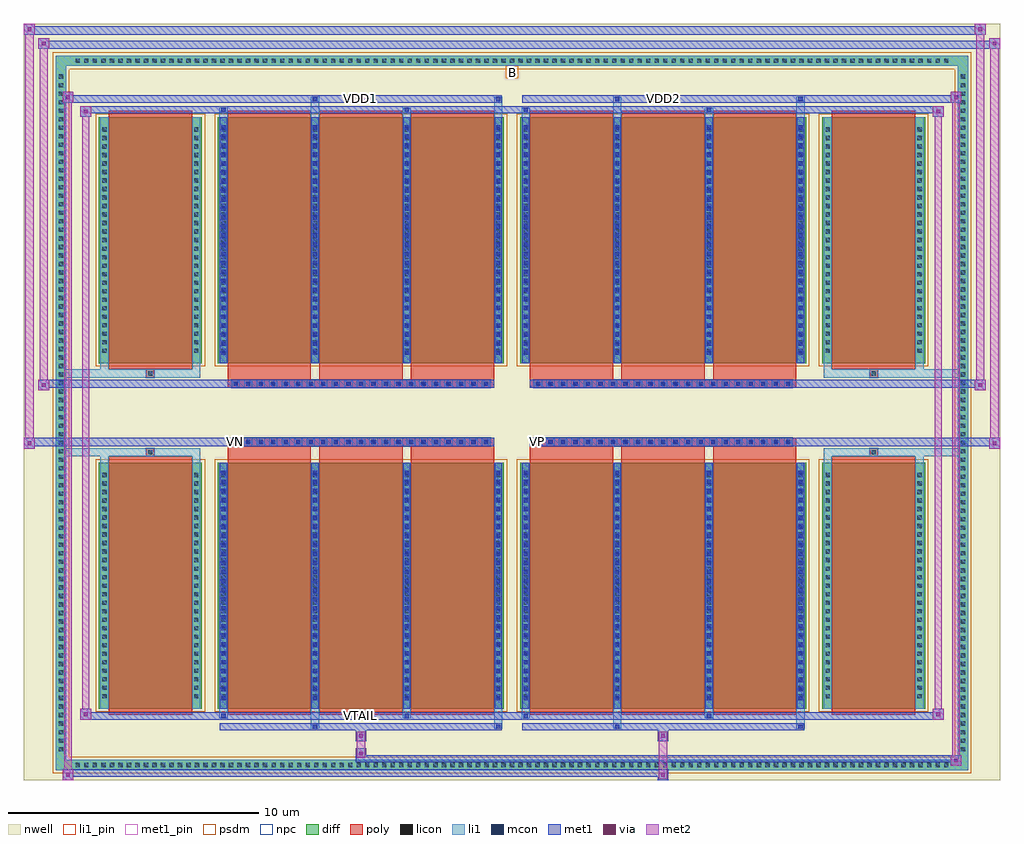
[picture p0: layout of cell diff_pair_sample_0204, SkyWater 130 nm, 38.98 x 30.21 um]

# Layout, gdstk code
import gdstk
lib = gdstk.Library(unit=1e-6, precision=5e-09)
def R(c, l, rs):  # rectangles x0, y0, x1, y1
    for r in rs: c.add(gdstk.rectangle(r[:2], r[2:], *l))
def A(c, l, x, y, w, h, nx, ny, dx, dy):  # array of equal rectangles
    R(c, l, [(x+i*dx, y+j*dy, x+i*dx+w, y+j*dy+h) for i in range(nx) for j in range(ny)])
def P(c, l, *ps):  # polygons
    for p in ps: c.add(gdstk.Polygon(p, *l))
nwell = (64, 20)
diff = (65, 20)
poly = (66, 20)
licon = (66, 44)
li1_pin = (67, 16)
li1 = (67, 20)
mcon = (67, 44)
met1_pin = (68, 16)
met1 = (68, 20)
via = (68, 44)
met2 = (69, 20)
psdm = (94, 20)
npc = (95, 20)

diff_pair_sample_0204 = lib.new_cell('diff_pair_sample_0204')
R(diff_pair_sample_0204, nwell, [(-19.49,-14.67,19.49,15.54), (-16.81,-12.86,-0.01,-0.8), (0.01,-12.86,16.81,-0.8), (-16.81,0.8,-0.01,12.86), (0.01,0.8,16.81,12.86)])
A(diff_pair_sample_0204, diff, -17.545, -14.27, 0.41, 0.41, 103, 2, 0.34, 28.13)
A(diff_pair_sample_0204, diff, -18.22, -13.635, 0.41, 0.41, 1, 80, 0, 0.34)
A(diff_pair_sample_0204, diff, 17.81, -13.635, 0.41, 0.41, 1, 80, 0, 0.34)
R(diff_pair_sample_0204, diff, [(-17.545,-14.27,17.545,-13.86), (-18.22,-13.635,-17.81,13.635), (17.81,-13.635,18.22,13.635), (-16.5,-11.815,-12.39,-1.985), (-11.75,-11.815,-0.32,-1.985), (0.32,-11.815,11.75,-1.985), (12.39,-11.815,16.5,-1.985), (-16.5,1.985,-12.39,11.815), (-11.75,1.985,-0.32,11.815), (0.32,1.985,11.75,11.815), (12.39,1.985,16.5,11.815), (-17.545,13.86,17.545,14.27)])
P(diff_pair_sample_0204, diff, [(18.22,14.27),(-18.22,14.27),(-18.22,-13.86),(-17.81,-13.86),(-17.81,13.86),(17.81,13.86),(17.81,-13.86),(-17.81,-13.86),(-18.22,-13.86),(-18.22,-14.27),(18.22,-14.27)])
A(diff_pair_sample_0204, poly, -11.36, -12.065, 3.33, 10.33, 3, 2, 3.66, 13.8)
A(diff_pair_sample_0204, poly, 0.71, -12.065, 3.33, 10.33, 3, 2, 3.66, 13.8)
A(diff_pair_sample_0204, poly, -11.36, -1.735, 3.33, 0.405, 3, 2, 3.66, 3.065)
A(diff_pair_sample_0204, poly, 0.71, -1.735, 3.33, 0.405, 3, 2, 3.66, 3.065)
A(diff_pair_sample_0204, poly, -11.2, -1.33, 0.33, 0.33, 21, 2, 0.5, 2.33)
A(diff_pair_sample_0204, poly, 0.87, -1.33, 0.33, 0.33, 21, 2, 0.5, 2.33)
R(diff_pair_sample_0204, poly, [(-16.11,-12.065,-12.78,-1.735), (12.78,-12.065,16.11,-1.735), (-14.61,-1.735,-14.28,-1.405), (-14.61,-1.735,-14.28,-1.405), (14.28,-1.735,14.61,-1.405), (14.28,-1.735,14.61,-1.405), (-11.36,-1.33,-0.71,-1), (0.71,-1.33,11.36,-1), (-11.36,1,-0.71,1.33), (0.71,1,11.36,1.33), (-14.61,1.405,-14.28,1.735), (-14.61,1.405,-14.28,1.735), (14.28,1.405,14.61,1.735), (14.28,1.405,14.61,1.735), (-16.11,1.735,-12.78,12.065), (12.78,1.735,16.11,12.065)])
A(diff_pair_sample_0204, licon, -17.425, -14.15, 0.17, 0.17, 103, 2, 0.34, 28.13)
A(diff_pair_sample_0204, licon, -18.1, -13.515, 0.17, 0.17, 1, 80, 0, 0.34)
A(diff_pair_sample_0204, licon, 17.93, -13.515, 0.17, 0.17, 1, 80, 0, 0.34)
A(diff_pair_sample_0204, licon, -16.36, -11.405, 0.17, 0.17, 1, 27, 0, 0.34)
A(diff_pair_sample_0204, licon, -12.7, -11.405, 0.17, 0.17, 1, 27, 0, 0.34)
A(diff_pair_sample_0204, licon, -11.61, -11.405, 0.17, 0.17, 4, 27, 3.66, 0.34)
A(diff_pair_sample_0204, licon, 0.46, -11.405, 0.17, 0.17, 4, 27, 3.66, 0.34)
A(diff_pair_sample_0204, licon, 12.53, -11.405, 0.17, 0.17, 1, 27, 0, 0.34)
A(diff_pair_sample_0204, licon, 16.19, -11.405, 0.17, 0.17, 1, 27, 0, 0.34)
A(diff_pair_sample_0204, licon, -11.12, -1.25, 0.17, 0.17, 21, 2, 0.5, 2.33)
A(diff_pair_sample_0204, licon, 0.95, -1.25, 0.17, 0.17, 21, 2, 0.5, 2.33)
A(diff_pair_sample_0204, licon, -16.36, 2.395, 0.17, 0.17, 1, 27, 0, 0.34)
A(diff_pair_sample_0204, licon, -12.7, 2.395, 0.17, 0.17, 1, 27, 0, 0.34)
A(diff_pair_sample_0204, licon, -11.61, 2.395, 0.17, 0.17, 4, 27, 3.66, 0.34)
A(diff_pair_sample_0204, licon, 0.46, 2.395, 0.17, 0.17, 4, 27, 3.66, 0.34)
A(diff_pair_sample_0204, licon, 12.53, 2.395, 0.17, 0.17, 1, 27, 0, 0.34)
A(diff_pair_sample_0204, licon, 16.19, 2.395, 0.17, 0.17, 1, 27, 0, 0.34)
R(diff_pair_sample_0204, licon, [(-14.53,-1.655,-14.36,-1.485), (14.36,-1.655,14.53,-1.485), (-14.53,1.485,-14.36,1.655), (14.36,1.485,14.53,1.655)])
R(diff_pair_sample_0204, li1_pin, [(-0.25,13.36,0.25,13.86)])
A(diff_pair_sample_0204, li1, -17.505, -14.23, 0.33, 0.33, 103, 2, 0.34, 28.13)
A(diff_pair_sample_0204, li1, -18.18, -13.595, 0.33, 0.33, 1, 80, 0, 0.34)
A(diff_pair_sample_0204, li1, 17.85, -13.595, 0.33, 0.33, 1, 80, 0, 0.34)
A(diff_pair_sample_0204, li1, -11.69, -11.815, 0.33, 9.83, 4, 2, 3.66, 13.8)
A(diff_pair_sample_0204, li1, 0.38, -11.815, 0.33, 9.83, 4, 2, 3.66, 13.8)
A(diff_pair_sample_0204, li1, -16.44, -11.485, 0.33, 0.33, 1, 27, 0, 0.34)
A(diff_pair_sample_0204, li1, -12.78, -11.485, 0.33, 0.33, 1, 27, 0, 0.34)
A(diff_pair_sample_0204, li1, -11.69, -11.485, 0.33, 0.33, 4, 27, 3.66, 0.34)
A(diff_pair_sample_0204, li1, -11.61, -11.485, 0.17, 0.17, 4, 26, 3.66, 0.36)
A(diff_pair_sample_0204, li1, -11.61, -11.485, 0.17, 9.17, 4, 2, 3.66, 13.8)
A(diff_pair_sample_0204, li1, 0.38, -11.485, 0.33, 0.33, 4, 27, 3.66, 0.34)
A(diff_pair_sample_0204, li1, 0.46, -11.485, 0.17, 0.17, 4, 26, 3.66, 0.36)
A(diff_pair_sample_0204, li1, 0.46, -11.485, 0.17, 9.17, 4, 2, 3.66, 13.8)
A(diff_pair_sample_0204, li1, 12.45, -11.485, 0.33, 0.33, 1, 27, 0, 0.34)
A(diff_pair_sample_0204, li1, 16.11, -11.485, 0.33, 0.33, 1, 27, 0, 0.34)
A(diff_pair_sample_0204, li1, -11.2, -1.33, 0.33, 0.33, 21, 2, 0.5, 2.33)
A(diff_pair_sample_0204, li1, 0.87, -1.33, 0.33, 0.33, 21, 2, 0.5, 2.33)
A(diff_pair_sample_0204, li1, -16.44, 2.315, 0.33, 0.33, 1, 27, 0, 0.34)
A(diff_pair_sample_0204, li1, -12.78, 2.315, 0.33, 0.33, 1, 27, 0, 0.34)
A(diff_pair_sample_0204, li1, -11.69, 2.315, 0.33, 0.33, 4, 27, 3.66, 0.34)
A(diff_pair_sample_0204, li1, -11.61, 2.315, 0.17, 0.17, 4, 26, 3.66, 0.36)
A(diff_pair_sample_0204, li1, 0.38, 2.315, 0.33, 0.33, 4, 27, 3.66, 0.34)
A(diff_pair_sample_0204, li1, 0.46, 2.315, 0.17, 0.17, 4, 26, 3.66, 0.36)
A(diff_pair_sample_0204, li1, 12.45, 2.315, 0.33, 0.33, 1, 27, 0, 0.34)
A(diff_pair_sample_0204, li1, 16.11, 2.315, 0.33, 0.33, 1, 27, 0, 0.34)
R(diff_pair_sample_0204, li1, [(-18.22,-14.27,-17.81,-13.86), (-18.22,-14.27,-17.81,-13.86), (-17.81,-14.27,17.81,-13.86), (17.81,-14.27,18.22,-13.86), (17.81,-14.27,18.22,-13.86), (-18.22,-13.86,-17.81,13.86), (17.81,-13.86,18.22,13.86), (-8.03,-12.62,-7.7,-11.815), (-7.95,-12.62,-7.78,-12.45), (-0.71,-12.62,-0.38,-11.815), (-0.63,-12.62,-0.46,-12.45), (4.04,-12.62,4.37,-11.815), (4.12,-12.62,4.29,-12.45), (11.36,-12.62,11.69,-11.815), (11.44,-12.62,11.61,-12.45), (-11.69,-12.19,-11.36,-11.815), (-11.61,-12.19,-11.44,-12.02), (-4.37,-12.19,-4.04,-11.815), (-4.29,-12.19,-4.12,-12.02), (0.38,-12.19,0.71,-11.815), (0.46,-12.19,0.63,-12.02), (7.7,-12.19,8.03,-11.815), (7.78,-12.19,7.95,-12.02), (-16.44,-11.815,-16.11,-1.985), (-12.78,-11.815,-12.45,-1.985), (12.45,-11.815,12.78,-1.985), (16.11,-11.815,16.44,-1.985), (-16.44,-1.985,-16.11,-1.405), (-12.78,-1.985,-12.45,-1.405), (12.45,-1.985,12.78,-1.405), (16.11,-1.985,16.44,-1.405), (-18.22,-1.735,-14.61,-1.405), (-16.44,-1.735,-14.61,-1.405), (-14.61,-1.735,-14.28,-1.405), (-14.28,-1.735,-12.45,-1.405), (12.45,-1.735,14.28,-1.405), (14.28,-1.735,14.61,-1.405), (14.28,-1.735,18.22,-1.405), (14.61,-1.735,16.44,-1.405), (-18.22,1.405,-14.61,1.735), (-16.44,1.405,-14.61,1.735), (-16.44,1.405,-16.11,1.985), (-14.61,1.405,-14.28,1.735), (-14.28,1.405,-12.45,1.735), (-12.78,1.405,-12.45,1.985), (12.45,1.405,14.28,1.735), (12.45,1.405,12.78,1.985), (14.28,1.405,14.61,1.735), (14.28,1.405,18.22,1.735), (14.61,1.405,16.44,1.735), (16.11,1.405,16.44,1.985), (-16.44,1.985,-16.11,11.815), (-12.78,1.985,-12.45,11.815), (12.45,1.985,12.78,11.815), (16.11,1.985,16.44,11.815), (-11.69,11.815,-11.36,12.19), (-8.03,11.815,-7.7,12.62), (-4.37,11.815,-4.04,12.19), (-0.71,11.815,-0.38,12.62), (0.38,11.815,0.71,12.19), (4.04,11.815,4.37,12.62), (7.7,11.815,8.03,12.19), (11.36,11.815,11.69,12.62), (-11.61,12.02,-11.44,12.19), (-4.29,12.02,-4.12,12.19), (0.46,12.02,0.63,12.19), (7.78,12.02,7.95,12.19), (-7.95,12.45,-7.78,12.62), (-0.63,12.45,-0.46,12.62), (4.12,12.45,4.29,12.62), (11.44,12.45,11.61,12.62), (-18.22,13.86,-17.81,14.27), (-18.22,13.86,-17.81,14.27), (-17.81,13.86,17.81,14.27), (17.81,13.86,18.22,14.27), (17.81,13.86,18.22,14.27)])
A(diff_pair_sample_0204, mcon, -11.61, -11.485, 0.17, 0.17, 4, 26, 3.66, 0.36)
A(diff_pair_sample_0204, mcon, 0.46, -11.485, 0.17, 0.17, 4, 26, 3.66, 0.36)
A(diff_pair_sample_0204, mcon, -11.12, -1.25, 0.17, 0.17, 21, 2, 0.5, 2.33)
A(diff_pair_sample_0204, mcon, 0.95, -1.25, 0.17, 0.17, 21, 2, 0.5, 2.33)
A(diff_pair_sample_0204, mcon, -11.61, 2.315, 0.17, 0.17, 4, 26, 3.66, 0.36)
A(diff_pair_sample_0204, mcon, 0.46, 2.315, 0.17, 0.17, 4, 26, 3.66, 0.36)
R(diff_pair_sample_0204, mcon, [(-7.95,-12.62,-7.78,-12.45), (-0.63,-12.62,-0.46,-12.45), (4.12,-12.62,4.29,-12.45), (11.44,-12.62,11.61,-12.45), (-11.61,-12.19,-11.44,-12.02), (-4.29,-12.19,-4.12,-12.02), (0.46,-12.19,0.63,-12.02), (7.78,-12.19,7.95,-12.02), (-11.61,12.02,-11.44,12.19), (-4.29,12.02,-4.12,12.19), (0.46,12.02,0.63,12.19), (7.78,12.02,7.95,12.19), (-7.95,12.45,-7.78,12.62), (-0.63,12.45,-0.46,12.62), (4.12,12.45,4.29,12.62), (11.44,12.45,11.61,12.62)])
R(diff_pair_sample_0204, met1_pin, [(-6.17,-12.23,-5.9,-11.96), (-11.17,-1.29,-10.9,-1.02), (0.9,-1.29,1.17,-1.02), (-6.17,12.41,-5.9,12.68), (5.9,12.41,6.17,12.68)])
A(diff_pair_sample_0204, met1, -11.67, -11.815, 0.29, 9.83, 4, 2, 3.66, 13.8)
A(diff_pair_sample_0204, met1, 0.4, -11.815, 0.29, 9.83, 4, 2, 3.66, 13.8)
A(diff_pair_sample_0204, met1, -11.67, -11.545, 0.29, 0.29, 4, 26, 3.66, 0.36)
A(diff_pair_sample_0204, met1, 0.4, -11.545, 0.29, 0.29, 4, 26, 3.66, 0.36)
A(diff_pair_sample_0204, met1, -11.18, -1.31, 0.29, 0.29, 21, 2, 0.5, 2.33)
A(diff_pair_sample_0204, met1, 0.89, -1.31, 0.29, 0.29, 21, 2, 0.5, 2.33)
A(diff_pair_sample_0204, met1, -11.67, 2.255, 0.29, 0.29, 4, 26, 3.66, 0.36)
A(diff_pair_sample_0204, met1, 0.4, 2.255, 0.29, 0.29, 4, 26, 3.66, 0.36)
R(diff_pair_sample_0204, met1, [(-17.95,-14.67,-17.52,-14.24), (5.82,-14.67,6.25,-14.24), (-17.95,-14.53,6.25,-14.24), (17.52,-14.1,17.95,-13.67), (-6.25,-13.96,17.95,-13.67), (-6.25,-13.82,-5.82,-13.39), (-6.25,-13.11,-5.82,-12.68), (5.82,-13.11,6.25,-12.68), (-11.67,-12.68,-0.4,-12.39), (-8.01,-12.68,-7.72,-12.39), (-0.69,-12.68,-0.4,-12.39), (0.4,-12.68,11.67,-12.39), (4.06,-12.68,4.35,-12.39), (11.38,-12.68,11.67,-12.39), (-17.24,-12.25,-16.81,-11.82), (-17.24,-12.25,-11.67,-11.96), (-11.67,-12.25,-11.38,-11.96), (-11.67,-12.25,-0.4,-11.96), (-4.35,-12.25,-4.06,-11.96), (-0.4,-12.25,0.4,-11.96), (0.4,-12.25,0.69,-11.96), (0.4,-12.25,11.67,-11.96), (7.72,-12.25,8.01,-11.96), (11.67,-12.25,17.24,-11.96), (16.81,-12.25,17.24,-11.82), (-19.49,-1.43,-19.06,-1), (19.06,-1.43,19.49,-1), (-19.49,-1.33,-0.71,-1), (-11.36,-1.33,-0.71,-1), (0.71,-1.33,11.36,-1), (0.71,-1.33,19.49,-1), (-18.92,0.9,-18.49,1.33), (18.49,0.9,18.92,1.33), (-18.92,1,-11.36,1.33), (-11.36,1,-0.71,1.33), (0.71,1,11.36,1.33), (11.36,1,18.92,1.33), (-17.24,11.82,-16.81,12.25), (16.81,11.82,17.24,12.25), (-17.24,11.96,-11.67,12.25), (-11.67,11.96,-11.38,12.25), (-11.67,11.96,-0.4,12.25), (-4.35,11.96,-4.06,12.25), (-0.4,11.96,0.4,12.25), (0.4,11.96,0.69,12.25), (0.4,11.96,11.67,12.25), (7.72,11.96,8.01,12.25), (11.67,11.96,17.24,12.25), (-17.95,12.39,-17.52,12.82), (-17.95,12.39,-11.67,12.68), (-11.67,12.39,-0.4,12.68), (-8.01,12.39,-7.72,12.68), (-0.69,12.39,-0.4,12.68), (0.4,12.39,11.67,12.68), (4.06,12.39,4.35,12.68), (11.38,12.39,11.67,12.68), (11.67,12.39,17.95,12.68), (17.52,12.39,17.95,12.82), (-18.92,14.54,-18.49,14.97), (-18.92,14.54,-16.81,14.87), (-16.81,14.54,16.81,14.87), (16.81,14.54,19.49,14.87), (19.06,14.54,19.49,14.97), (-19.49,15.11,-19.06,15.54), (-19.49,15.11,-16.81,15.44), (-16.81,15.11,16.81,15.44), (16.81,15.11,18.92,15.44), (18.49,15.11,18.92,15.54)])
R(diff_pair_sample_0204, via, [(-17.81,-14.53,-17.66,-14.38), (5.96,-14.53,6.11,-14.38), (17.66,-13.96,17.81,-13.81), (-6.11,-13.68,-5.96,-13.53), (-6.11,-12.97,-5.96,-12.82), (5.96,-12.97,6.11,-12.82), (-17.1,-12.11,-16.95,-11.96), (16.95,-12.11,17.1,-11.96), (-19.35,-1.29,-19.2,-1.14), (19.2,-1.29,19.35,-1.14), (-18.78,1.04,-18.63,1.19), (18.63,1.04,18.78,1.19), (-17.1,11.96,-16.95,12.11), (16.95,11.96,17.1,12.11), (-17.81,12.53,-17.66,12.68), (17.66,12.53,17.81,12.68), (-18.78,14.68,-18.63,14.83), (19.2,14.68,19.35,14.83), (-19.35,15.25,-19.2,15.4), (18.63,15.25,18.78,15.4)])
R(diff_pair_sample_0204, met2, [(-17.95,-14.67,-17.52,-14.24), (-17.88,-14.67,-17.59,12.82), (-17.59,-14.67,-17.52,-14.24), (-17.9,-14.62,-17.57,-14.29), (5.87,-14.62,6.2,-14.29), (5.87,-14.29,6.2,-13.06), (17.52,-14.1,17.95,-13.67), (17.59,-14.1,17.88,12.82), (17.88,-14.1,17.95,-13.67), (17.57,-14.05,17.9,-13.72), (-6.2,-13.77,-5.87,-13.44), (-6.2,-13.44,-5.87,-13.06), (-6.2,-13.06,-5.87,-12.73), (5.87,-13.06,6.2,-12.73), (-17.24,-12.25,-16.81,-11.82), (-17.17,-12.25,-16.88,12.25), (-16.88,-12.25,-16.81,-11.82), (16.81,-12.25,17.24,-11.82), (16.88,-12.25,17.17,12.25), (17.17,-12.25,17.24,-11.82), (-17.19,-12.2,-16.86,-11.87), (16.86,-12.2,17.19,-11.87), (-19.49,-1.43,-19.06,-1), (-19.44,-1.43,-19.11,15.54), (-19.11,-1.43,-19.06,-1), (19.06,-1.43,19.49,-1), (19.11,-1.43,19.44,14.97), (19.44,-1.43,19.49,-1), (-19.44,-1.38,-19.11,-1.05), (19.11,-1.38,19.44,-1.05), (-18.92,0.9,-18.49,1.33), (-18.87,0.9,-18.54,14.97), (-18.54,0.9,-18.49,1.33), (18.49,0.9,18.92,1.33), (18.54,0.9,18.87,15.54), (18.87,0.9,18.92,1.33), (-18.87,0.95,-18.54,1.28), (18.54,0.95,18.87,1.28), (-17.24,11.82,-16.81,12.25), (-16.88,11.82,-16.81,12.25), (16.81,11.82,17.24,12.25), (17.17,11.82,17.24,12.25), (-17.19,11.87,-16.86,12.2), (16.86,11.87,17.19,12.2), (-17.95,12.39,-17.52,12.82), (-17.59,12.39,-17.52,12.82), (17.52,12.39,17.95,12.82), (17.88,12.39,17.95,12.82), (-17.9,12.44,-17.57,12.77), (17.57,12.44,17.9,12.77), (-18.92,14.54,-18.49,14.97), (-18.54,14.54,-18.49,14.97), (19.06,14.54,19.49,14.97), (19.44,14.54,19.49,14.97), (-18.87,14.59,-18.54,14.92), (19.11,14.59,19.44,14.92), (-19.49,15.11,-19.06,15.54), (-19.11,15.11,-19.06,15.54), (18.49,15.11,18.92,15.54), (18.87,15.11,18.92,15.54), (-19.44,15.16,-19.11,15.49), (18.54,15.16,18.87,15.49)])
R(diff_pair_sample_0204, psdm, [(-16.63,-11.945,-12.26,-1.855), (-11.88,-11.945,-0.19,-1.855), (0.19,-11.945,11.88,-1.855), (12.26,-11.945,16.63,-1.855), (-16.63,1.855,-12.26,11.945), (-11.88,1.855,-0.19,11.945), (0.19,1.855,11.88,11.945), (12.26,1.855,16.63,11.945)])
P(diff_pair_sample_0204, psdm, [(18.35,14.4),(-18.35,14.4),(-18.35,-13.73),(-17.68,-13.73),(-17.68,13.73),(17.68,13.73),(17.68,-13.73),(-17.68,-13.73),(-18.35,-13.73),(-18.35,-14.4),(18.35,-14.4)])
A(diff_pair_sample_0204, npc, -11.22, -1.35, 0.37, 0.37, 21, 2, 0.5, 2.33)
A(diff_pair_sample_0204, npc, 0.85, -1.35, 0.37, 0.37, 21, 2, 0.5, 2.33)
R(diff_pair_sample_0204, npc, [(-14.63,-1.755,-14.26,-1.385), (14.26,-1.755,14.63,-1.385), (-11.22,-1.35,-10.35,-0.98), (-11.22,-1.35,-10.35,-0.98), (-10.72,-1.35,-9.85,-0.98), (-10.72,-1.35,-9.85,-0.98), (-10.22,-1.35,-9.35,-0.98), (-10.22,-1.35,-9.35,-0.98), (-9.72,-1.35,-8.85,-0.98), (-9.72,-1.35,-8.85,-0.98), (-9.22,-1.35,-8.35,-0.98), (-9.22,-1.35,-8.35,-0.98), (-8.72,-1.35,-7.85,-0.98), (-8.72,-1.35,-7.85,-0.98), (-8.22,-1.35,-7.35,-0.98), (-8.22,-1.35,-7.35,-0.98), (-7.72,-1.35,-6.85,-0.98), (-7.72,-1.35,-6.85,-0.98), (-7.22,-1.35,-6.35,-0.98), (-7.22,-1.35,-6.35,-0.98), (-6.72,-1.35,-5.85,-0.98), (-6.72,-1.35,-5.85,-0.98), (-6.22,-1.35,-5.35,-0.98), (-6.22,-1.35,-5.35,-0.98), (-5.72,-1.35,-4.85,-0.98), (-5.72,-1.35,-4.85,-0.98), (-5.22,-1.35,-4.35,-0.98), (-5.22,-1.35,-4.35,-0.98), (-4.72,-1.35,-3.85,-0.98), (-4.72,-1.35,-3.85,-0.98), (-4.22,-1.35,-3.35,-0.98), (-4.22,-1.35,-3.35,-0.98), (-3.72,-1.35,-2.85,-0.98), (-3.72,-1.35,-2.85,-0.98), (-3.22,-1.35,-2.35,-0.98), (-3.22,-1.35,-2.35,-0.98), (-2.72,-1.35,-1.85,-0.98), (-2.72,-1.35,-1.85,-0.98), (-2.22,-1.35,-1.35,-0.98), (-2.22,-1.35,-1.35,-0.98), (-1.72,-1.35,-0.85,-0.98), (-1.72,-1.35,-0.85,-0.98), (0.85,-1.35,1.72,-0.98), (0.85,-1.35,1.72,-0.98), (1.35,-1.35,2.22,-0.98), (1.35,-1.35,2.22,-0.98), (1.85,-1.35,2.72,-0.98), (1.85,-1.35,2.72,-0.98), (2.35,-1.35,3.22,-0.98), (2.35,-1.35,3.22,-0.98), (2.85,-1.35,3.72,-0.98), (2.85,-1.35,3.72,-0.98), (3.35,-1.35,4.22,-0.98), (3.35,-1.35,4.22,-0.98), (3.85,-1.35,4.72,-0.98), (3.85,-1.35,4.72,-0.98), (4.35,-1.35,5.22,-0.98), (4.35,-1.35,5.22,-0.98), (4.85,-1.35,5.72,-0.98), (4.85,-1.35,5.72,-0.98), (5.35,-1.35,6.22,-0.98), (5.35,-1.35,6.22,-0.98), (5.85,-1.35,6.72,-0.98), (5.85,-1.35,6.72,-0.98), (6.35,-1.35,7.22,-0.98), (6.35,-1.35,7.22,-0.98), (6.85,-1.35,7.72,-0.98), (6.85,-1.35,7.72,-0.98), (7.35,-1.35,8.22,-0.98), (7.35,-1.35,8.22,-0.98), (7.85,-1.35,8.72,-0.98), (7.85,-1.35,8.72,-0.98), (8.35,-1.35,9.22,-0.98), (8.35,-1.35,9.22,-0.98), (8.85,-1.35,9.72,-0.98), (8.85,-1.35,9.72,-0.98), (9.35,-1.35,10.22,-0.98), (9.35,-1.35,10.22,-0.98), (9.85,-1.35,10.72,-0.98), (9.85,-1.35,10.72,-0.98), (10.35,-1.35,11.22,-0.98), (10.35,-1.35,11.22,-0.98), (-11.22,0.98,-10.35,1.35), (-11.22,0.98,-10.35,1.35), (-10.72,0.98,-9.85,1.35), (-10.72,0.98,-9.85,1.35), (-10.22,0.98,-9.35,1.35), (-10.22,0.98,-9.35,1.35), (-9.72,0.98,-8.85,1.35), (-9.72,0.98,-8.85,1.35), (-9.22,0.98,-8.35,1.35), (-9.22,0.98,-8.35,1.35), (-8.72,0.98,-7.85,1.35), (-8.72,0.98,-7.85,1.35), (-8.22,0.98,-7.35,1.35), (-8.22,0.98,-7.35,1.35), (-7.72,0.98,-6.85,1.35), (-7.72,0.98,-6.85,1.35), (-7.22,0.98,-6.35,1.35), (-7.22,0.98,-6.35,1.35), (-6.72,0.98,-5.85,1.35), (-6.72,0.98,-5.85,1.35), (-6.22,0.98,-5.35,1.35), (-6.22,0.98,-5.35,1.35), (-5.72,0.98,-4.85,1.35), (-5.72,0.98,-4.85,1.35), (-5.22,0.98,-4.35,1.35), (-5.22,0.98,-4.35,1.35), (-4.72,0.98,-3.85,1.35), (-4.72,0.98,-3.85,1.35), (-4.22,0.98,-3.35,1.35), (-4.22,0.98,-3.35,1.35), (-3.72,0.98,-2.85,1.35), (-3.72,0.98,-2.85,1.35), (-3.22,0.98,-2.35,1.35), (-3.22,0.98,-2.35,1.35), (-2.72,0.98,-1.85,1.35), (-2.72,0.98,-1.85,1.35), (-2.22,0.98,-1.35,1.35), (-2.22,0.98,-1.35,1.35), (-1.72,0.98,-0.85,1.35), (-1.72,0.98,-0.85,1.35), (0.85,0.98,1.72,1.35), (0.85,0.98,1.72,1.35), (1.35,0.98,2.22,1.35), (1.35,0.98,2.22,1.35), (1.85,0.98,2.72,1.35), (1.85,0.98,2.72,1.35), (2.35,0.98,3.22,1.35), (2.35,0.98,3.22,1.35), (2.85,0.98,3.72,1.35), (2.85,0.98,3.72,1.35), (3.35,0.98,4.22,1.35), (3.35,0.98,4.22,1.35), (3.85,0.98,4.72,1.35), (3.85,0.98,4.72,1.35), (4.35,0.98,5.22,1.35), (4.35,0.98,5.22,1.35), (4.85,0.98,5.72,1.35), (4.85,0.98,5.72,1.35), (5.35,0.98,6.22,1.35), (5.35,0.98,6.22,1.35), (5.85,0.98,6.72,1.35), (5.85,0.98,6.72,1.35), (6.35,0.98,7.22,1.35), (6.35,0.98,7.22,1.35), (6.85,0.98,7.72,1.35), (6.85,0.98,7.72,1.35), (7.35,0.98,8.22,1.35), (7.35,0.98,8.22,1.35), (7.85,0.98,8.72,1.35), (7.85,0.98,8.72,1.35), (8.35,0.98,9.22,1.35), (8.35,0.98,9.22,1.35), (8.85,0.98,9.72,1.35), (8.85,0.98,9.72,1.35), (9.35,0.98,10.22,1.35), (9.35,0.98,10.22,1.35), (9.85,0.98,10.72,1.35), (9.85,0.98,10.72,1.35), (10.35,0.98,11.22,1.35), (10.35,0.98,11.22,1.35), (-14.63,1.385,-14.26,1.755), (14.26,1.385,14.63,1.755)])
diff_pair_sample_0204.add(gdstk.Label('VTAIL', (-6.035,-12.095), layer=68, texttype=5))
diff_pair_sample_0204.add(gdstk.Label('VN', (-11.035,-1.155), layer=68, texttype=5))
diff_pair_sample_0204.add(gdstk.Label('VP', (1.035,-1.155), layer=68, texttype=5))
diff_pair_sample_0204.add(gdstk.Label('B', (0,13.61), layer=67, texttype=5))
diff_pair_sample_0204.add(gdstk.Label('VDD2', (6.035,12.545), layer=68, texttype=5))
diff_pair_sample_0204.add(gdstk.Label('VDD1', (-6.035,12.545), layer=68, texttype=5))

lib.write_gds('diff_pair_sample_0204.gds')
